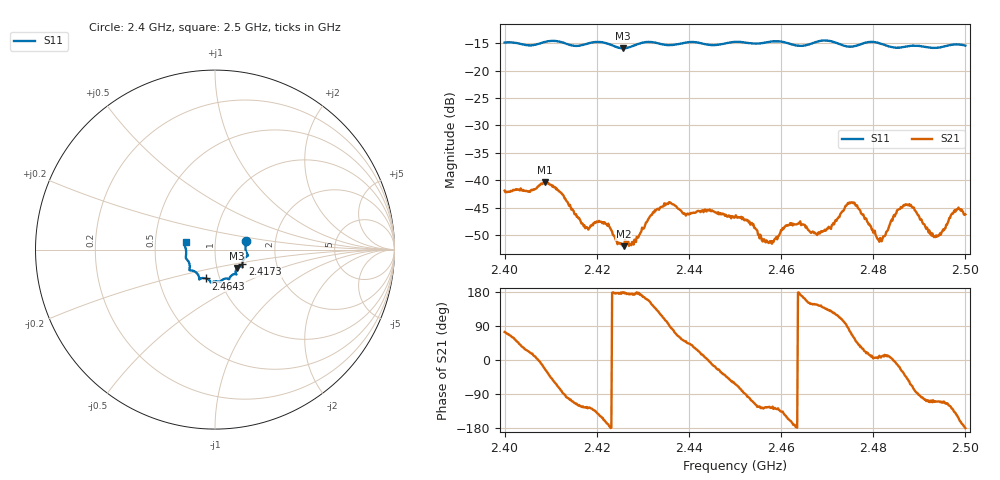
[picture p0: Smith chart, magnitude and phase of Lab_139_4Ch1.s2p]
# Hz S RI R 50
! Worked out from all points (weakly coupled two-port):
!   601 points, 2.4 GHz to 2.5 GHz, reference 50 ohm
!   highest |S21| = -40.42 dB at 2.4088 GHz (marker M1); lowest = -52.0 dB at 2.4258 GHz (marker M2)
!   lowest |S11| = -15.9 dB at 2.4257 GHz (marker M3), VSWR 1.38, Z = 62.4 - j13.1 ohm
!   |S11| at or under -10 dB: start of sweep to end of sweep
!   S12 and S22 are empty: the file has one direction only
!   S11 on the Smith chart (normalised r, x): 2.4 GHz: 1.41, +0.14; 2.4173 GHz: 1.34, -0.23; 2.4643 GHz: 0.86, -0.28; 2.5 GHz: 0.72, +0.06
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2.4e9  0.1735 0.0495  0.00222 0.00771  0 0  0 0
2.408833e9  0.181 -0.0271  0.00858 -0.00415  0 0  0 0
2.412333e9  0.1783 -0.0374  0.0012 -0.00754  0 0  0 0
2.416667e9  0.153 -0.0747  -0.0022 -0.00337  0 0  0 0
2.417333e9  0.1523 -0.0822  -0.00222 -0.00316  0 0  0 0
2.422167e9  0.1505 -0.0942  -0.00386 -0.000898  0 0  0 0
2.425667e9  0.1226 -0.1023  -0.00257 6.24e-05  0 0  0 0
2.425833e9  0.1215 -0.1036  -0.0025 5.71e-05  0 0  0 0
2.428e9  0.115 -0.1236  -0.00256 0.000311  0 0  0 0
2.433333e9  0.1128 -0.1366  -0.0034 0.00429  0 0  0 0
2.45e9  0.0296 -0.1806  0.00206 -0.00411  0 0  0 0
2.4575e9  -0.0164 -0.1823  -0.00153 -0.0023  0 0  0 0
2.464333e9  -0.0503 -0.1605  -0.00383 0.000646  0 0  0 0
2.466667e9  -0.0763 -0.1597  -0.00284 0.00174  0 0  0 0
2.470333e9  -0.0873 -0.1656  -0.00247 0.00283  0 0  0 0
2.475333e9  -0.1097 -0.1238  0.00248 0.00578  0 0  0 0
2.481333e9  -0.142 -0.1074  0.00269 0.000532  0 0  0 0
2.483333e9  -0.1408 -0.0894  0.00362 0.000626  0 0  0 0
2.487e9  -0.1557 -0.0564  0.00443 -0.00409  0 0  0 0
2.4935e9  -0.1609 -0.00741  -0.00103 -0.00284  0 0  0 0
2.498e9  -0.1708 0.0314  -0.00436 -0.00318  0 0  0 0
2.5e9  -0.1637 0.042  -0.00487 -1.22e-05  0 0  0 0
